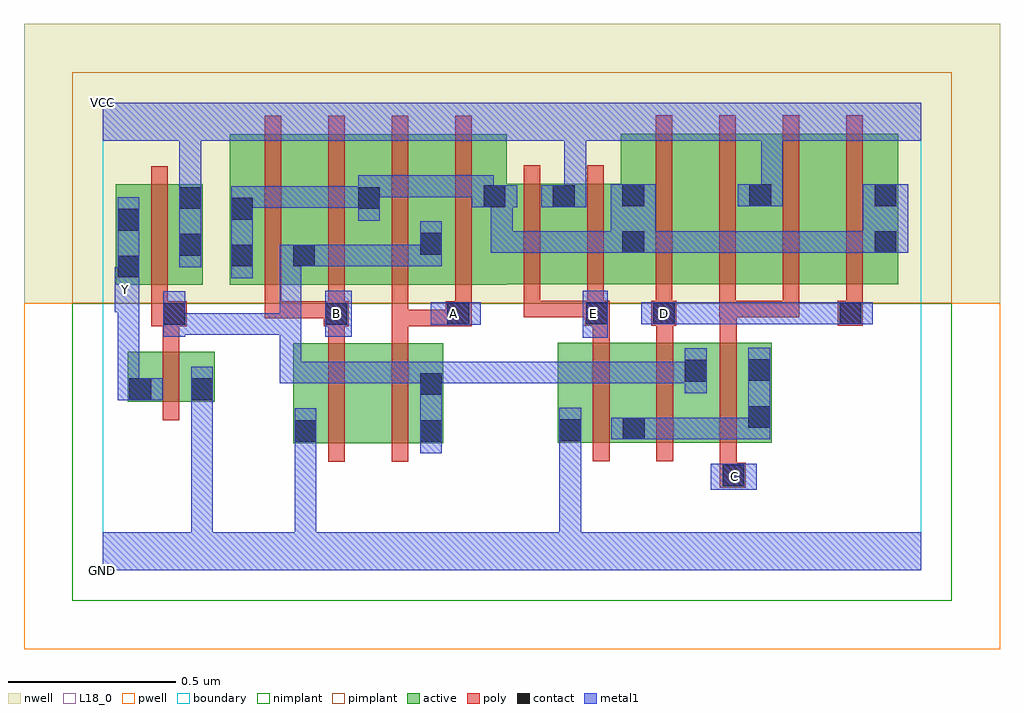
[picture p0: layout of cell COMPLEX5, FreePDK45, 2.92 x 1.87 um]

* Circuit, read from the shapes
.subckt COMPLEX5 A B C D E GND VCC Y
M1 GND n1 Y VSUBS nfet w=0.15u l=0.05u
M2 n2 B GND VSUBS nfet w=0.3u l=0.05u
M3 n1 A n2 VSUBS nfet w=0.3u l=0.05u
M4 n3 E GND VSUBS nfet w=0.3u l=0.05u
M5 n1 D n3 VSUBS nfet w=0.3u l=0.05u
M6 n3 C n1 VSUBS nfet w=0.3u l=0.05u
M7 VCC n1 Y n4 pfet w=0.3u l=0.05u
M8 n1 B n5 n4 pfet w=0.45u l=0.05u m=2
M9 n1 A n5 n4 pfet w=0.45u l=0.05u m=2
M10 VCC E n5 n4 pfet w=0.3u l=0.05u m=2
M11 n6 D n5 n4 pfet w=0.45u l=0.05u
M12 VCC C n6 n4 pfet w=0.45u l=0.05u
M13 n7 C VCC n4 pfet w=0.45u l=0.05u
M14 n5 D n7 n4 pfet w=0.45u l=0.05u
.ends

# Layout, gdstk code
import gdstk
lib = gdstk.Library(unit=1e-6, precision=1e-09)
def R(c, l, rs):  # rectangles x0, y0, x1, y1
    for r in rs: c.add(gdstk.rectangle(r[:2], r[2:], *l))
def A(c, l, x, y, w, h, nx, ny, dx, dy):  # array of equal rectangles
    R(c, l, [(x+i*dx, y+j*dy, x+i*dx+w, y+j*dy+h) for i in range(nx) for j in range(ny)])
active = (1, 0)
pwell = (2, 0)
nwell = (3, 0)
nimplant = (4, 0)
pimplant = (5, 0)
poly = (9, 0)
contact = (10, 0)
metal1 = (11, 0)
L18_0 = (18, 0)
boundary = (235, 0)

complex5 = lib.new_cell('COMPLEX5')
R(complex5, active, [(0.57,0.38,0.795,0.68), (0.57,0.38,0.645,0.547), (0.795,0.38,1.02,0.68), (0.945,0.38,1.02,0.68), (1.362,0.382,1.627,0.682), (1.362,0.382,1.437,0.682), (1.552,0.382,1.812,0.682), (1.552,0.382,1.627,0.547), (1.737,0.382,2.002,0.682), (1.927,0.407,2.002,0.682), (1.737,0.445,1.812,0.635), (0.075,0.505,0.15,0.655), (0.075,0.505,0.335,0.655), (0.26,0.505,0.335,0.655), (0.04,0.855,0.3,1.155), (0.04,0.855,0.115,1.155), (0.225,0.855,0.3,1.155), (0.38,0.855,0.64,1.305), (0.38,0.855,0.455,1.2), (0.565,0.855,0.835,1.305), (0.76,0.855,1.02,1.305), (0.945,0.855,1.21,1.305), (0.565,0.857,0.64,1.07), (0.76,0.857,0.835,1.2), (0.945,0.857,1.02,1.07), (1.135,0.857,1.21,1.2), (1.135,0.857,1.417,1.157), (1.342,0.857,1.625,1.157), (1.55,0.857,1.625,1.2), (1.55,0.857,1.775,1.307), (1.775,0.857,2.005,1.307), (1.93,0.857,2.155,1.307), (1.93,0.857,2.005,1.305), (2.155,0.857,2.38,1.307), (2.305,0.857,2.38,1.2), (1.342,1.007,1.417,1.157)])
R(complex5, pwell, [(-0.235,-0.235,2.685,0.8)])
R(complex5, nwell, [(-0.235,0.8,2.685,1.635)])
R(complex5, nimplant, [(-0.09,-0.09,2.54,0.8)])
R(complex5, pimplant, [(-0.09,0.8,2.54,1.49)])
A(complex5, poly, 1.467, 0.327, 0.05, 0.41, 3, 1, 0.19, 0)
A(complex5, poly, 1.655, 0.757, 0.05, 0.095, 4, 1, 0.19, 0)
A(complex5, poly, 0.485, 0.8, 0.05, 0.56, 4, 1, 0.19, 0)
A(complex5, poly, 1.655, 0.802, 0.05, 0.56, 4, 1, 0.19, 0)
R(complex5, poly, [(1.847,0.247,1.925,0.322), (1.847,0.272,1.897,0.377), (0.675,0.325,0.725,0.735), (0.865,0.325,0.915,0.735), (0.18,0.45,0.23,0.71), (0.18,0.66,0.23,0.78), (0.675,0.685,0.725,0.78), (0.865,0.685,0.915,0.78), (1.467,0.687,1.517,0.782), (1.657,0.687,1.707,0.782), (1.847,0.687,1.897,0.807), (0.145,0.73,0.252,0.805), (0.662,0.73,0.737,0.805), (0.865,0.73,0.915,0.78), (0.865,0.73,0.915,0.78), (0.865,0.73,0.915,0.78), (0.865,0.73,0.915,0.85), (0.865,0.73,1.077,0.78), (1.027,0.73,1.105,0.805), (1.442,0.732,1.517,0.807), (1.642,0.732,1.717,0.807), (2.2,0.732,2.275,0.807), (0.145,0.755,0.195,0.85), (0.485,0.755,0.535,0.85), (0.485,0.755,0.535,0.805), (0.485,0.755,0.712,0.805), (0.662,0.755,0.712,0.805), (0.662,0.755,0.712,0.805), (0.675,0.755,0.725,0.85), (1.055,0.755,1.105,0.85), (1.26,0.757,1.31,0.852), (1.26,0.757,1.31,0.807), (1.26,0.757,1.31,0.807), (1.26,0.757,1.31,0.807), (1.26,0.757,1.492,0.807), (1.45,0.757,1.5,0.852), (1.845,0.757,1.897,0.807), (1.847,0.757,2.085,0.807), (1.847,0.757,1.897,0.807), (1.847,0.757,1.897,0.807), (2.035,0.757,2.085,0.807), (0.145,0.8,0.195,1.21), (1.26,0.802,1.31,1.212), (1.45,0.802,1.5,1.212)])
R(complex5, contact, [(1.855,0.252,1.92,0.317), (0.575,0.385,0.64,0.45), (0.95,0.385,1.015,0.45), (1.367,0.387,1.432,0.452), (1.557,0.392,1.622,0.457), (1.932,0.427,1.997,0.492), (0.08,0.51,0.145,0.575), (0.265,0.51,0.33,0.575), (0.95,0.525,1.015,0.59), (1.742,0.565,1.807,0.63), (1.932,0.567,1.997,0.632), (0.182,0.735,0.247,0.8), (0.667,0.735,0.732,0.8), (1.032,0.735,1.097,0.8), (1.447,0.737,1.512,0.802), (1.647,0.737,1.712,0.802), (2.205,0.737,2.27,0.802), (0.045,0.877,0.11,0.942), (0.385,0.91,0.45,0.975), (0.57,0.91,0.635,0.975), (0.23,0.942,0.295,1.007), (0.95,0.945,1.015,1.01), (1.555,0.95,1.62,1.015), (2.31,0.95,2.375,1.015), (0.045,1.017,0.11,1.082), (0.385,1.05,0.45,1.115), (0.23,1.082,0.295,1.147), (0.765,1.082,0.83,1.147), (1.14,1.087,1.205,1.152), (1.347,1.087,1.412,1.152), (1.555,1.09,1.62,1.155), (1.935,1.09,2,1.155), (2.31,1.09,2.375,1.155)])
R(complex5, metal1, [(0,0,2.45,0.115), (0.265,0.05,0.33,0.115), (0.265,0.05,0.33,0.115), (0.265,0.05,0.33,0.115), (0.265,0.05,0.33,0.115), (0.265,0.05,0.33,0.115), (0.265,0.05,0.33,0.115), (0.265,0.05,0.33,0.54), (0.575,0.05,0.64,0.115), (0.575,0.05,0.64,0.115), (0.575,0.05,0.64,0.115), (0.575,0.05,0.64,0.115), (0.575,0.05,0.64,0.115), (0.575,0.05,0.64,0.115), (0.575,0.05,0.64,0.415), (1.367,0.05,1.432,0.417), (1.82,0.242,1.957,0.32), (0.575,0.35,0.64,0.485), (0.95,0.35,1.015,0.625), (1.367,0.352,1.432,0.417), (1.367,0.352,1.432,0.417), (1.367,0.352,1.432,0.417), (1.367,0.352,1.432,0.417), (1.367,0.352,1.432,0.417), (1.367,0.352,1.432,0.417), (1.367,0.352,1.432,0.487), (1.522,0.392,1.657,0.457), (1.592,0.392,1.657,0.457), (1.592,0.392,1.657,0.457), (1.592,0.392,1.827,0.457), (1.762,0.392,1.827,0.457), (1.762,0.392,1.885,0.457), (1.82,0.392,1.885,0.457), (1.82,0.392,1.997,0.457), (1.932,0.392,1.997,0.667), (0.265,0.475,0.33,0.54), (0.265,0.475,0.33,0.54), (0.265,0.475,0.33,0.61), (0.045,0.51,0.18,0.575), (0.045,0.51,0.11,0.837), (1.742,0.53,1.807,0.665), (0.53,0.56,0.595,0.625), (0.53,0.56,0.595,0.625), (0.53,0.56,0.595,0.625), (0.53,0.56,0.877,0.625), (0.53,0.56,0.595,0.77), (0.812,0.56,1.015,0.625), (0.812,0.56,0.877,0.625), (0.812,0.56,0.877,0.625), (0.812,0.56,0.877,0.625), (0.95,0.56,1.152,0.625), (1.087,0.56,1.152,0.625), (1.087,0.56,1.152,0.625), (1.087,0.56,1.152,0.625), (1.087,0.56,1.365,0.625), (1.3,0.56,1.365,0.625), (1.3,0.56,1.365,0.625), (1.3,0.56,1.365,0.625), (1.3,0.56,1.502,0.625), (1.437,0.56,1.64,0.625), (1.437,0.56,1.502,0.625), (1.437,0.56,1.502,0.625), (1.437,0.56,1.502,0.625), (1.575,0.56,1.64,0.625), (1.575,0.56,1.807,0.625), (1.437,0.697,1.512,0.837), (0.182,0.7,0.247,0.835), (0.667,0.7,0.745,0.837), (0.182,0.705,0.247,0.77), (0.182,0.705,0.247,0.77), (0.182,0.705,0.457,0.77), (0.392,0.705,0.595,0.77), (0.392,0.705,0.457,0.77), (0.392,0.705,0.457,0.77), (0.392,0.705,0.457,0.77), (0.53,0.705,0.595,0.77), (0.53,0.705,0.595,0.975), (0.982,0.735,1.132,0.802), (1.612,0.737,1.747,0.802), (1.682,0.737,1.795,0.802), (1.73,0.737,1.795,0.802), (1.73,0.737,1.885,0.802), (1.82,0.737,1.885,0.802), (1.82,0.737,2.065,0.802), (2,0.737,2.065,0.802), (2,0.737,2.065,0.802), (2,0.737,2.065,0.802), (2,0.737,2.202,0.802), (2.137,0.737,2.202,0.802), (2.137,0.737,2.235,0.802), (2.17,0.737,2.305,0.802), (0.037,0.772,0.11,0.907), (0.045,0.842,0.11,0.907), (0.045,0.842,0.11,1.117), (0.385,0.875,0.45,1.15), (0.23,0.907,0.295,1.182), (0.53,0.91,0.67,0.975), (0.605,0.91,0.67,0.975), (0.605,0.91,0.67,0.975), (0.605,0.91,0.877,0.975), (0.812,0.91,1.015,0.975), (0.812,0.91,0.877,0.975), (0.812,0.91,0.877,0.975), (0.812,0.91,0.877,0.975), (0.95,0.91,1.015,1.045), (1.162,0.95,1.365,1.015), (1.162,0.95,1.227,1.015), (1.162,0.95,1.227,1.152), (1.3,0.95,1.365,1.015), (1.3,0.95,1.365,1.015), (1.3,0.95,1.365,1.015), (1.3,0.95,1.502,1.015), (1.437,0.95,1.502,1.015), (1.437,0.95,1.585,1.015), (1.52,0.95,1.655,1.155), (1.59,0.95,1.655,1.015), (1.59,0.95,1.655,1.015), (1.59,0.95,1.827,1.015), (1.762,0.95,1.827,1.015), (1.762,0.95,1.885,1.015), (1.82,0.95,1.885,1.015), (1.82,0.95,2.04,1.015), (1.975,0.95,2.04,1.015), (1.975,0.95,2.04,1.015), (1.975,0.95,2.04,1.015), (1.975,0.95,2.202,1.015), (2.137,0.95,2.34,1.015), (2.137,0.95,2.202,1.015), (2.137,0.95,2.202,1.015), (2.137,0.95,2.202,1.015), (2.275,0.95,2.41,1.155), (0.765,1.047,0.83,1.182), (0.385,1.085,0.45,1.15), (0.385,1.085,0.45,1.15), (0.385,1.085,0.692,1.15), (0.627,1.085,0.83,1.15), (0.627,1.085,0.692,1.15), (0.627,1.085,0.692,1.15), (0.627,1.085,0.692,1.15), (1.105,1.087,1.17,1.152), (1.105,1.087,1.24,1.152), (1.105,1.087,1.17,1.182), (1.312,1.087,1.447,1.152), (1.382,1.087,1.447,1.35), (1.9,1.09,2.035,1.155), (1.97,1.09,2.035,1.35), (0.23,1.117,0.295,1.35), (0.765,1.117,0.83,1.182), (0.765,1.117,0.83,1.182), (0.765,1.117,1.015,1.182), (0.95,1.117,1.015,1.182), (0.95,1.117,1.17,1.182), (0,1.285,2.45,1.4), (0.23,1.285,0.295,1.35), (0.23,1.285,0.295,1.35), (1.382,1.285,1.447,1.35), (1.382,1.285,1.447,1.35)])
R(complex5, L18_0, [(0,0,2.45,0.115), (0.265,0.05,0.33,0.115), (0.265,0.05,0.33,0.115), (0.265,0.05,0.33,0.115), (0.265,0.05,0.33,0.115), (0.265,0.05,0.33,0.115), (0.265,0.05,0.33,0.115), (0.265,0.05,0.33,0.54), (0.575,0.05,0.64,0.115), (0.575,0.05,0.64,0.115), (0.575,0.05,0.64,0.115), (0.575,0.05,0.64,0.115), (0.575,0.05,0.64,0.115), (0.575,0.05,0.64,0.115), (0.575,0.05,0.64,0.415), (1.367,0.05,1.432,0.417), (1.82,0.242,1.957,0.32), (1.857,0.247,1.922,0.312), (0.575,0.35,0.64,0.485), (1.367,0.352,1.432,0.417), (1.367,0.352,1.432,0.417), (1.367,0.352,1.432,0.417), (1.367,0.352,1.432,0.417), (1.367,0.352,1.432,0.417), (1.367,0.352,1.432,0.417), (1.367,0.352,1.432,0.487), (0.265,0.475,0.33,0.54), (0.265,0.475,0.33,0.54), (0.265,0.475,0.33,0.61), (0.045,0.51,0.18,0.575), (0.045,0.51,0.11,0.837), (1.437,0.697,1.512,0.837), (0.667,0.7,0.745,0.837), (0.982,0.735,1.132,0.802), (0.667,0.737,0.732,0.802), (1.017,0.737,1.082,0.802), (1.437,0.737,1.502,0.802), (1.612,0.737,1.747,0.802), (1.647,0.737,1.712,0.802), (1.682,0.737,1.795,0.802), (1.73,0.737,1.795,0.802), (1.73,0.737,1.885,0.802), (1.82,0.737,1.885,0.802), (1.82,0.737,2.065,0.802), (2,0.737,2.065,0.802), (2,0.737,2.065,0.802), (2,0.737,2.065,0.802), (2,0.737,2.202,0.802), (2.137,0.737,2.202,0.802), (2.137,0.737,2.235,0.802), (2.17,0.737,2.305,0.802), (0.037,0.772,0.11,0.907), (0.037,0.807,0.102,0.872), (0.045,0.842,0.11,1.117), (0.045,0.842,0.11,0.907), (0.23,0.907,0.295,1.182), (1.312,1.087,1.447,1.152), (1.382,1.087,1.447,1.35), (1.9,1.09,2.035,1.155), (1.97,1.09,2.035,1.35), (0.23,1.117,0.295,1.35), (0,1.285,2.45,1.4), (0.23,1.285,0.295,1.35), (0.23,1.285,0.295,1.35), (1.382,1.285,1.447,1.35), (1.382,1.285,1.447,1.35)])
R(complex5, boundary, [(0,0,2.45,1.4)])
complex5.add(gdstk.Label('A', (1.05,0.77), layer=11, texttype=0))
complex5.add(gdstk.Label('B', (0.7,0.77), layer=11, texttype=0))
complex5.add(gdstk.Label('C', (1.89,0.28), layer=11, texttype=0))
complex5.add(gdstk.Label('D', (1.68,0.77), layer=11, texttype=0))
complex5.add(gdstk.Label('E', (1.47,0.77), layer=11, texttype=0))
complex5.add(gdstk.Label('Y', (0.07,0.84), layer=11, texttype=0))
complex5.add(gdstk.Label('VCC', (0,1.4), layer=11, texttype=0))
complex5.add(gdstk.Label('GND', (0,0), layer=11, texttype=0))

lib.write_gds('COMPLEX5.gds')
